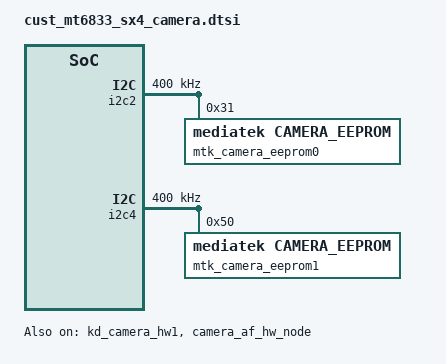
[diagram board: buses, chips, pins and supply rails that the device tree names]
/* SPDX-License-Identifier: GPL-2.0 */
/*
 * Copyright (c) 2019 MediaTek Inc.
*/
/* CAMERA GPIO standardization */

/* SX4 */

&pio {
	camera_pins_cam0_rst_0: cam0@0 {
		pins_cmd_dat {
			pinmux = <PINMUX_GPIO54__FUNC_GPIO54>;
			slew-rate = <1>;
			output-low;
		};
	};
	camera_pins_cam0_rst_1: cam0@1 {
		pins_cmd_dat {
			pinmux = <PINMUX_GPIO54__FUNC_GPIO54>;
			slew-rate = <1>;
			output-high;
		};
	};

	camera_pins_cam1_rst_0: cam1@0 {
		pins_cmd_dat {
			pinmux = <PINMUX_GPIO56__FUNC_GPIO56>;
			slew-rate = <1>;
			output-low;
		};
	};
	camera_pins_cam1_rst_1: cam1@1 {
		pins_cmd_dat {
			pinmux = <PINMUX_GPIO56__FUNC_GPIO56>;
			slew-rate = <1>;
			output-high;
		};
	};

	camera_pins_cam2_rst_0: cam2@0 {
		pins_cmd_dat {
			pinmux = <PINMUX_GPIO58__FUNC_GPIO58>;
			slew-rate = <1>;
			output-low;
		};
	};
	camera_pins_cam2_rst_1: cam2@1 {
		pins_cmd_dat {
			pinmux = <PINMUX_GPIO58__FUNC_GPIO58>;
			slew-rate = <1>;
			output-high;
		};
	};
	
//-------------------------
	camera_pins_cam0_vcamd_0: cam0@vcam0 {
		pins_cmd_dat {
			pinmux = <PINMUX_GPIO93__FUNC_GPIO93>;
			slew-rate = <1>;
			output-low;
		};
	};
	camera_pins_cam0_vcamd_1: cam0@vcam1 {
		pins_cmd_dat {
			pinmux = <PINMUX_GPIO93__FUNC_GPIO93>;
			slew-rate = <1>;
			output-high;
		};
	};
	camera_pins_cam0_vcama_0: cam0@vcam2 {
		pins_cmd_dat {
			pinmux = <PINMUX_GPIO94__FUNC_GPIO94>;
			slew-rate = <1>;
			output-low;
		};
	};
	camera_pins_cam0_vcama_1: cam0@vcam3 {
		pins_cmd_dat {
			pinmux = <PINMUX_GPIO94__FUNC_GPIO94>;
			slew-rate = <1>;
			output-high;
		};
	};
//----------------- -s5k4h7_mipi_raw ---------------
	camera_pins_cam1_vcamd_0: cam1@vcam0 {
		pins_cmd_dat {
			pinmux = <PINMUX_GPIO140__FUNC_GPIO140>;
			slew-rate = <1>;
			output-low;
		};
	};
	camera_pins_cam1_vcamd_1: cam1@vcam1 {
		pins_cmd_dat {
			pinmux = <PINMUX_GPIO140__FUNC_GPIO140>;
			slew-rate = <1>;
			output-high;
		};
	};
	camera_pins_cam1_vcama_0: cam1@vcam2 {
		pins_cmd_dat {
			pinmux = <PINMUX_GPIO131__FUNC_GPIO131>;
			slew-rate = <1>;
			output-low;
		};
	};
	camera_pins_cam1_vcama_1: cam1@vcam3 {
		pins_cmd_dat {
			pinmux = <PINMUX_GPIO131__FUNC_GPIO131>;
			slew-rate = <1>;
			output-high;
		};
	};
	camera_pins_cam1_vcamio_0: cam1@vcam4 {
		pins_cmd_dat {
			pinmux = <PINMUX_GPIO82__FUNC_GPIO82>;
			slew-rate = <1>;
			output-low;
		};
	};
	camera_pins_cam1_vcamio_1: cam1@vcam5 {
		pins_cmd_dat {
			pinmux = <PINMUX_GPIO82__FUNC_GPIO82>;
			slew-rate = <1>;
			output-high;
		};
	};
//----------------- 2MP ---------------	
	camera_pins_cam2_vcamd_0: cam2@vcam0 {
		pins_cmd_dat {
			pinmux = <PINMUX_GPIO45__FUNC_GPIO45>;
			slew-rate = <1>;
			output-low;
		};
	};
	camera_pins_cam2_vcamd_1: cam2@vcam1 {
		pins_cmd_dat {
			pinmux = <PINMUX_GPIO45__FUNC_GPIO45>;
			slew-rate = <1>;
			output-high;
		};
	};
	camera_pins_cam2_vcama_0: cam2@vcam2 {
		pins_cmd_dat {
			pinmux = <PINMUX_GPIO47__FUNC_GPIO47>;
			slew-rate = <1>;
			output-low;
		};
	};
	camera_pins_cam2_vcama_1: cam2@vcam3 {
		pins_cmd_dat {
			pinmux = <PINMUX_GPIO47__FUNC_GPIO47>;
			slew-rate = <1>;
			output-high;
		};
	};
	camera_pins_cam2_vcamio_0: cam2@vcam4 {
		pins_cmd_dat {
			pinmux = <PINMUX_GPIO44__FUNC_GPIO44>;
			slew-rate = <1>;
			output-low;
		};
	};
	camera_pins_cam2_vcamio_1: cam2@vcam5 {
		pins_cmd_dat {
			pinmux = <PINMUX_GPIO44__FUNC_GPIO44>;
			slew-rate = <1>;
			output-high;
		};
	};
	
//--------------------------------------------
	camera_pins_cam0_mclk_off: camera_pins_cam0_mclk_off {
		pins_cmd_dat {
			pinmux = <PINMUX_GPIO49__FUNC_GPIO49>;
			drive-strength = <1>;
		};
	};
	camera_pins_cam0_mclk_2ma: camera_pins_cam0_mclk_2ma {
		pins_cmd_dat {
			pinmux = <PINMUX_GPIO49__FUNC_CMMCLK0>;
			drive-strength = <0>;
		};
	};
	camera_pins_cam0_mclk_4ma: camera_pins_cam0_mclk_4ma {
		pins_cmd_dat {
			pinmux = <PINMUX_GPIO49__FUNC_CMMCLK0>;
			drive-strength = <1>;
		};
	};
	camera_pins_cam0_mclk_6ma: camera_pins_cam0_mclk_6ma {
		pins_cmd_dat {
			pinmux = <PINMUX_GPIO49__FUNC_CMMCLK0>;
			drive-strength = <2>;
		};
	};
	camera_pins_cam0_mclk_8ma: camera_pins_cam0_mclk_8ma {
		pins_cmd_dat {
			pinmux = <PINMUX_GPIO49__FUNC_CMMCLK0>;
			drive-strength = <3>;
		};
	};
	camera_pins_cam1_mclk_off: camera_pins_cam1_mclk_off {
		pins_cmd_dat {
			pinmux = <PINMUX_GPIO50__FUNC_GPIO50>;
			drive-strength = <1>;
		};
	};
	camera_pins_cam1_mclk_2ma: camera_pins_cam1_mclk_2ma {
		pins_cmd_dat {
			pinmux = <PINMUX_GPIO50__FUNC_CMMCLK1>;
			drive-strength = <0>;
		};
	};
	camera_pins_cam1_mclk_4ma: camera_pins_cam1_mclk_4ma {
		pins_cmd_dat {
			pinmux = <PINMUX_GPIO50__FUNC_CMMCLK1>;
			drive-strength = <1>;
		};
	};
	camera_pins_cam1_mclk_6ma: camera_pins_cam1_mclk_6ma {
		pins_cmd_dat {
			pinmux = <PINMUX_GPIO50__FUNC_CMMCLK1>;
			drive-strength = <2>;
		};
	};
	camera_pins_cam1_mclk_8ma: camera_pins_cam1_mclk_8ma {
		pins_cmd_dat {
			pinmux = <PINMUX_GPIO50__FUNC_CMMCLK1>;
			drive-strength = <3>;
		};
	};
	
	camera_pins_cam2_mclk_off: camera_pins_cam2_mclk_off {
		pins_cmd_dat {
			pinmux = <PINMUX_GPIO51__FUNC_GPIO51>;
			drive-strength = <1>;
		};
	};
	camera_pins_cam2_mclk_2ma: camera_pins_cam2_mclk_2ma {
		pins_cmd_dat {
			pinmux = <PINMUX_GPIO51__FUNC_CMMCLK2>;
			drive-strength = <0>;
		};
	};
	camera_pins_cam2_mclk_4ma: camera_pins_cam2_mclk_4ma {
		pins_cmd_dat {
			pinmux = <PINMUX_GPIO51__FUNC_CMMCLK2>;
			drive-strength = <1>;
		};
	};
	camera_pins_cam2_mclk_6ma: camera_pins_cam2_mclk_6ma {
		pins_cmd_dat {
			pinmux = <PINMUX_GPIO51__FUNC_CMMCLK2>;
			drive-strength = <2>;
		};
	};
	camera_pins_cam2_mclk_8ma: camera_pins_cam2_mclk_8ma {
		pins_cmd_dat {
			pinmux = <PINMUX_GPIO51__FUNC_CMMCLK2>;
			drive-strength = <3>;
		};
	};
	
	camera_pins_default: camdefault {
	};
};
&kd_camera_hw1 {
	pinctrl-names = "default",
			"cam0_rst0", "cam0_rst1",
			"cam1_rst0", "cam1_rst1",
			"cam2_rst0", "cam2_rst1",
			"cam0_ldo_vcamd_0", "cam0_ldo_vcamd_1",
			"cam0_ldo_vcama_0", "cam0_ldo_vcama_1",
			"cam1_ldo_vcamd_0", "cam1_ldo_vcamd_1",
			"cam1_ldo_vcama_0", "cam1_ldo_vcama_1",
			"cam2_ldo_vcamd_0", "cam2_ldo_vcamd_1",
			"cam2_ldo_vcama_0", "cam2_ldo_vcama_1",
			"cam0_mclk_off",
			"cam0_mclk_2mA", "cam0_mclk_4mA",
			"cam0_mclk_6mA", "cam0_mclk_8mA",
			"cam1_mclk_off",
			"cam1_mclk_2mA", "cam1_mclk_4mA",
			"cam1_mclk_6mA", "cam1_mclk_8mA",
			"cam2_mclk_off",
			"cam2_mclk_2mA", "cam2_mclk_4mA",
			"cam2_mclk_6mA", "cam2_mclk_8mA",
			"cam1_ldo_vcamio_0", "cam1_ldo_vcamio_1",
			"cam2_ldo_vcamio_0", "cam2_ldo_vcamio_1";


	pinctrl-0 = <&camera_pins_default>;
	pinctrl-1 = <&camera_pins_cam0_rst_0>;
	pinctrl-2 = <&camera_pins_cam0_rst_1>;
	pinctrl-3 = <&camera_pins_cam1_rst_0>;
	pinctrl-4 = <&camera_pins_cam1_rst_1>;
	pinctrl-5 = <&camera_pins_cam2_rst_0>;
	pinctrl-6 = <&camera_pins_cam2_rst_1>;
	pinctrl-7 = <&camera_pins_cam0_vcamd_0>;
	pinctrl-8 = <&camera_pins_cam0_vcamd_1>;
	pinctrl-9 = <&camera_pins_cam0_vcama_0>;
	pinctrl-10 = <&camera_pins_cam0_vcama_1>;
	pinctrl-11 = <&camera_pins_cam1_vcamd_0>;
	pinctrl-12 = <&camera_pins_cam1_vcamd_1>;
	pinctrl-13 = <&camera_pins_cam1_vcama_0>;
	pinctrl-14 = <&camera_pins_cam1_vcama_1>;
	pinctrl-15 = <&camera_pins_cam2_vcamd_0>;
	pinctrl-16 = <&camera_pins_cam2_vcamd_1>;
	pinctrl-17 = <&camera_pins_cam2_vcama_0>;
	pinctrl-18 = <&camera_pins_cam2_vcama_1>;	
	pinctrl-19 = <&camera_pins_cam0_mclk_off>;
	pinctrl-20 = <&camera_pins_cam0_mclk_2ma>;
	pinctrl-21 = <&camera_pins_cam0_mclk_4ma>;
	pinctrl-22 = <&camera_pins_cam0_mclk_6ma>;
	pinctrl-23 = <&camera_pins_cam0_mclk_8ma>;
	pinctrl-24 = <&camera_pins_cam1_mclk_off>;
	pinctrl-25 = <&camera_pins_cam1_mclk_2ma>;
	pinctrl-26 = <&camera_pins_cam1_mclk_4ma>;
	pinctrl-27 = <&camera_pins_cam1_mclk_6ma>;
	pinctrl-28 = <&camera_pins_cam1_mclk_8ma>;
	pinctrl-29 = <&camera_pins_cam2_mclk_off>;
	pinctrl-30 = <&camera_pins_cam2_mclk_2ma>;
	pinctrl-31 = <&camera_pins_cam2_mclk_4ma>;
	pinctrl-32 = <&camera_pins_cam2_mclk_6ma>;
	pinctrl-33 = <&camera_pins_cam2_mclk_8ma>;
	pinctrl-34 = <&camera_pins_cam1_vcamio_0>;
	pinctrl-35 = <&camera_pins_cam1_vcamio_1>;
	pinctrl-36 = <&camera_pins_cam2_vcamio_0>;
	pinctrl-37 = <&camera_pins_cam2_vcamio_1>;

    cam0_vcamio-supply = <&mt6359p_vcamio_reg>;

	cam0_enable_sensor = "s5kjnssq33_mipi_raw";
	cam1_enable_sensor = "s5k4h7_mipi_raw";
	cam2_enable_sensor = "gc02m1b_mipi_mono";

	cam0_pin_mclk = "mclk";
	cam0_pin_rst = "gpio";
	cam0_pin_vcama = "gpio";
	cam0_pin_vcamd = "gpio";
	cam0_pin_vcamio = "regulator";
	cam0_pin_vcamaf = "gpio";
	cam1_pin_mclk = "mclk";
	cam1_pin_rst = "gpio";
	cam1_pin_vcama = "gpio";
	cam1_pin_vcamd = "gpio";
	cam1_pin_vcamio = "gpio";
	cam2_pin_mclk = "mclk";
	cam2_pin_rst = "gpio";
	cam2_pin_vcama = "gpio";
	cam2_pin_vcamd = "gpio";
	cam2_pin_vcamio = "gpio";

	status = "okay";
};
/* CAMERA GPIO end */

/* CAMERA EEPROM */

&i2c2 {
	status = "okay";
	clock-frequency = <400000>;
	#address-cells = <1>;
	#size-cells = <0>;

	mtk_camera_eeprom0:camera-eeprom0@31 {
		compatible = "mediatek,camera_eeprom";
		reg = <0x31>;
		status = "okay";
	};
};

&i2c4 {
	status = "okay";
	clock-frequency = <400000>;
	#address-cells = <1>;
	#size-cells = <0>;

	mtk_camera_eeprom1:camera-eeprom1@50 {
		compatible = "mediatek,camera_eeprom";
		reg = <0x50>;
		status = "okay";
	};
};



/* CAMERA EEPROM end */

/* CAMERA AF */
&pio {
  camera_af_pins_default: camafdefault{
	};
	camera0_vcamaf_on: camera0_vcamaf_output_high@gpio53 {
		pins_cmd_dat {
			pinmux = <PINMUX_GPIO53__FUNC_GPIO53>;
			slew-rate = <1>;
			output-high;
		};
	};
	camera0_vcamaf_off: camera0_vcamaf_output_low@gpio53 {
		pins_cmd_dat {
			pinmux = <PINMUX_GPIO53__FUNC_GPIO53>;
			slew-rate = <1>;
			output-low;
		};
	};
};

&camera_af_hw_node {
	pinctrl-names = "default",
		"cam0_ldo_vcamaf_0", "cam0_ldo_vcamaf_1";
	pinctrl-0 = <&camera_af_pins_default>;
	pinctrl-1 = <&camera0_vcamaf_off>;
	pinctrl-2 = <&camera0_vcamaf_on>;
	status = "okay";
};
/* CAMERA AF end */
